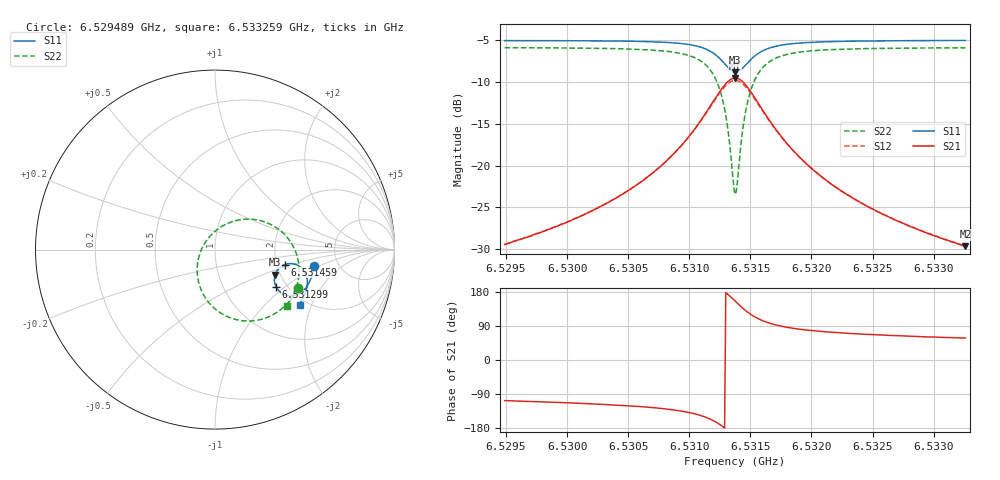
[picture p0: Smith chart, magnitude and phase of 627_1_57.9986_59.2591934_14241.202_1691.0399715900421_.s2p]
#  HZ  S  RI  R  50.00
! Rohde & Schwarz Vector Network Analyzer
! Rohde-Schwarz,ZNB20-2Port,1311601062101988,3.16
! Created: UTC 3/21/2024, 1:18:22 AM
! freq[Hz]  re:S11  im:S11  re:S21  im:S21  re:S12  im:S12  re:S22  im:S22
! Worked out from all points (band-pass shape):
!   401 points, 6.529489 GHz to 6.533259 GHz, reference 50 ohm
!   highest |S21| = -9.51 dB at 6.531374 GHz (marker M1); lowest = -29.6 dB at 6.533259 GHz (marker M2)
!   |S21| within 3 dB of the highest: 6.531187 GHz to 6.531564 GHz (376.5 kHz wide, 0.00576 % of centre)
!   lowest |S11| = -8.8 dB at 6.531374 GHz (marker M3), VSWR 2.14, Z = 94.1 - j30.2 ohm
!   |S11| at or under -10 dB: nowhere
!   |S22| runs from -23.4 to -5.9 dB; largest |S21 - S12| = 0.014
!   S11 on the Smith chart (normalised r, x): 6.529489 GHz: 3.29, -0.89; 6.531299 GHz: 1.76, -0.88; 6.531459 GHz: 2.22, -0.44; 6.533259 GHz: 1.83, -1.64
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6.5294892e9  0.5527 -0.0933  -0.00998 -0.0322  -0.0108 -0.0321  0.4623 -0.2118
6.5301207e9  0.5398 -0.1465  -0.0209 -0.0457  -0.0221 -0.0453  0.4266 -0.2711
6.5304695e9  0.5269 -0.1799  -0.0345 -0.0594  -0.0362 -0.0585  0.3907 -0.3126
6.5307522e9  0.5079 -0.2115  -0.0589 -0.0776  -0.0613 -0.0757  0.3356 -0.3555
6.5309784e9  0.4764 -0.2415  -0.1058 -0.0973  -0.1088 -0.0935  0.2417 -0.3925
6.5311387e9  0.4263 -0.2578  -0.1834 -0.0992  -0.1851 -0.0913  0.1013 -0.3856
6.5312329e9  0.3769 -0.2459  -0.2595 -0.062  -0.257 -0.0509  -0.0229 -0.3081
6.5312706e9  0.3551 -0.229  -0.291 -0.0265  -0.2852 -0.0152  -0.0689 -0.2422
6.5312989e9  0.3414 -0.2099  -0.3096 0.0106  -0.3011 0.0208  -0.0924 -0.1772
6.5313272e9  0.3326 -0.1855  -0.3191 0.0554  -0.3081 0.0637  -0.0993 -0.1015
6.5313554e9  0.3313 -0.1578  -0.3158 0.1047  -0.3032 0.1098  -0.0841 -0.0218
6.5313743e9  0.3352 -0.1392  -0.3055 0.137  -0.2925 0.1398  -0.061 0.0288
6.5313932e9  0.3431 -0.122  -0.2886 0.1667  -0.2761 0.1672  -0.0285 0.074
6.5314309e9  0.3679 -0.0947  -0.2415 0.2121  -0.2313 0.2091  0.0565 0.1394
6.5314591e9  0.3904 -0.0831  -0.2007 0.2314  -0.1927 0.2271  0.1268 0.164
6.5315251e9  0.4398 -0.0799  -0.1148 0.236  -0.111 0.232  0.2706 0.1565
6.5316194e9  0.4835 -0.1032  -0.0404 0.2009  -0.0388 0.1987  0.3906 0.0811
6.5317607e9  0.5084 -0.1423  0.0033 0.147  0.00451 0.1462  0.4545 -0.0264
6.5320058e9  0.5142 -0.1894  0.0204 0.0935  0.0219 0.0931  0.4681 -0.1363
6.5322603e9  0.5088 -0.2221  0.0226 0.0656  0.0235 0.0655  0.4573 -0.1986
6.5326373e9  0.496 -0.2585  0.0207 0.0444  0.0217 0.0442  0.4357 -0.2544
6.5332594e9  0.4711 -0.3065  0.0175 0.0279  0.0182 0.0276  0.4003 -0.3122
